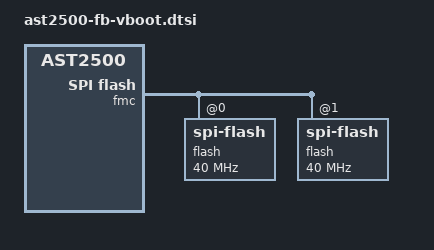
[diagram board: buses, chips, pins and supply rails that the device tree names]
/dts-v1/;
#include <dt-bindings/gpio/aspeed-gpio.h>
#include <dt-bindings/wdt/aspeed.h>
#include "ast2500-u-boot.dtsi"

/ {
	config {
		/* short term solution not enable bootsecure option,
		 * hardcode the bootcmd list in fdt, which will be verfied by SPL.
		 * long term shall enable bootsecure option and
		 * have vbs command to implement all verified-boot
		 */
		bootsecure = <0>;
#ifdef CONFIG_ASPEED_RECOVERY_BUILD
		bootcmd = "setenv verify no; bootm 201A0000";
#else
		bootcmd = "vbs oscheck; bootm 281A0000; vbs 6 60; setenv verify no; bootm 201A0000";
#endif
	};

	aliases {
		spi0 = &fmc;
	};
};

&wdt1 {
	u-boot,dm-pre-reloc;
	wdtrst = <WDTRST_POLARITY_H WDTRST_OPEN_DRAIN 0xFF>;
	pinctrl-names = "default";
	pinctrl-0 = <&pinctrl_wdtrst1_default>;
};

&i2c  {
	u-boot,dm-pre-reloc;
};

&fmc {
	status = "okay";
	flash@0 {
		compatible = "spi-flash";
		status = "okay";
		spi-max-frequency = <40000000>;
		spi-tx-bus-width = <2>;
		spi-rx-bus-width = <2>;
	};

	flash@1 {
		compatible = "spi-flash";
		status = "okay";
		spi-max-frequency = <40000000>;
		spi-tx-bus-width = <2>;
		spi-rx-bus-width = <2>;
    };
};

&syscon {
	u-boot,dm-pre-reloc;
};

&pinctrl {
	u-boot,dm-pre-reloc;
};

&gpio {
	u-boot,dm-pre-reloc;
};

&pinctrl_wdtrst1_default {
	u-boot,dm-pre-reloc;
};


